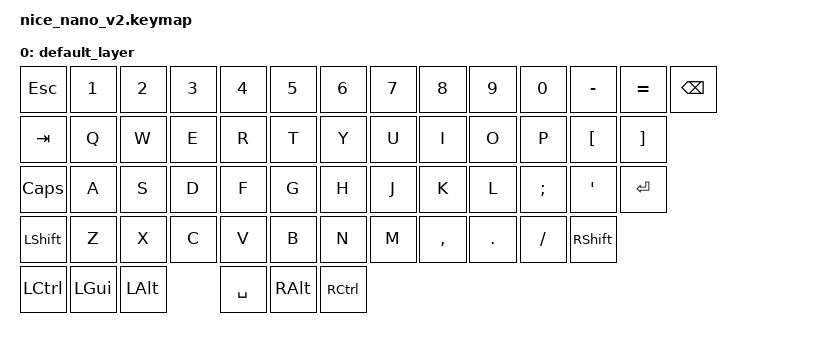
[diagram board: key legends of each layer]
/ {
    keymap {
        compatible = "zmk,keymap";

        default_layer {
            bindings = <
&kp ESC  &kp N1  &kp N2  &kp N3  &kp N4  &kp N5  &kp N6  &kp N7  &kp N8  &kp N9  &kp N0  &kp MINUS &kp EQUAL &kp BSPC
&kp TAB  &kp Q   &kp W   &kp E   &kp R   &kp T   &kp Y   &kp U   &kp I   &kp O   &kp P   &kp LBKT &kp RBKT
&kp CAPS &kp A   &kp S   &kp D   &kp F   &kp G   &kp H   &kp J   &kp K   &kp L   &kp SEMI &kp SQT &kp RET
&kp LSHFT &kp Z  &kp X   &kp C   &kp V   &kp B   &kp N   &kp M   &kp COMMA &kp DOT &kp SLASH &kp RSHFT
&kp LCTRL &kp LGUI &kp LALT &kp SPACE &kp RALT &kp RCTRL
            >;
        };
    };
};
